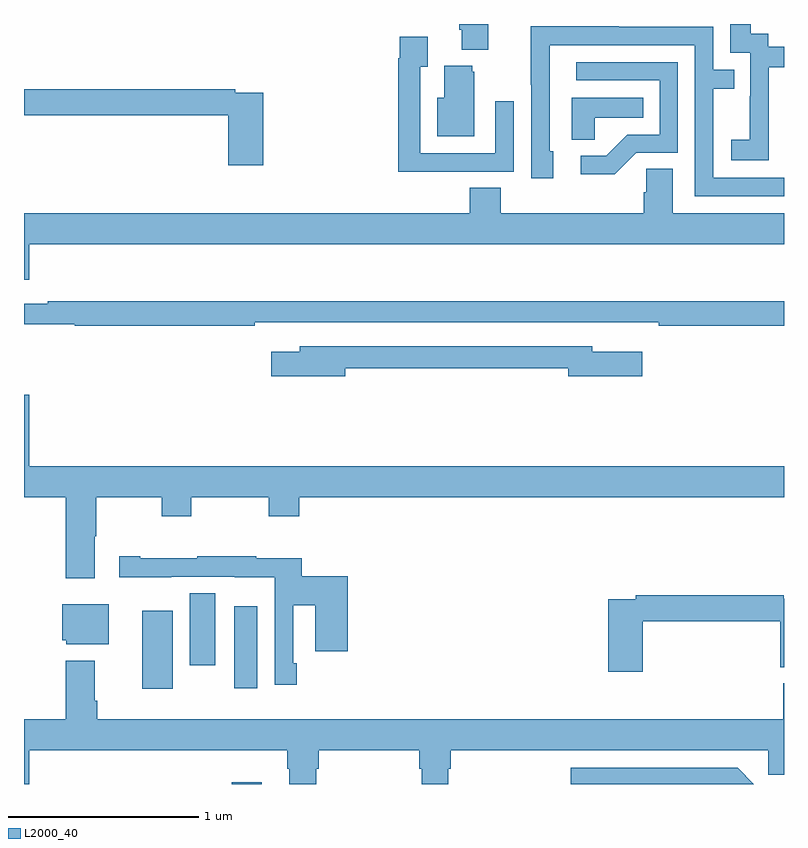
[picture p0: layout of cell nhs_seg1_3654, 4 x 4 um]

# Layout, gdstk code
import gdstk
lib = gdstk.Library(unit=1e-6, precision=1e-09)
def R(c, l, rs):  # rectangles x0, y0, x1, y1
    for r in rs: c.add(gdstk.rectangle(r[:2], r[2:], *l))
def P(c, l, *ps):  # polygons
    for p in ps: c.add(gdstk.Polygon(p, *l))
L2000_40 = (2000, 40)

nhs_seg1_3654 = lib.new_cell('nhs_seg1_3654')
R(nhs_seg1_3654, L2000_40, [(310.094,574.199,310.252,574.207), (309.623,574.701,309.784,575.11), (310.106,574.704,310.228,575.134), (309.872,574.824,310.006,575.204)])
P(nhs_seg1_3654, L2000_40, [(312.921,577.687),(312.92,577.687),(312.92,577.971),(313,577.971),(313,578.079),(312.918,578.079),(312.918,578.148),(312.826,578.148),(312.826,578.199),(312.717,578.199),(312.717,578.049),(312.822,578.049),(312.822,577.82),(312.821,577.82),(312.821,577.591),(312.723,577.591),(312.723,577.481),(312.921,577.481)],
  [(311.443,578.199),(311.291,578.199),(311.291,578.17),(311.303,578.17),(311.303,578.063),(311.443,578.063)],
  [(313,577.389),(312.627,577.389),(312.627,577.858),(312.737,577.858),(312.737,577.959),(312.627,577.959),(312.627,578.184),(312.131,578.184),(312.131,578.186),(311.668,578.186),(311.668,577.879),(311.67,577.879),(311.67,577.386),(311.785,577.386),(311.785,577.53),(311.766,577.53),(311.766,578.088),(312.531,578.088),(312.531,577.293),(313,577.293)],
  [(311.261,577.422),(311.577,577.422),(311.577,577.792),(311.481,577.792),(311.481,577.518),(311.085,577.518),(311.085,577.975),(311.125,577.975),(311.125,578.131),(310.977,578.131),(310.977,578.018),(310.969,578.018),(310.969,577.421),(311.261,577.421)],
  [(312.222,577.521),(312.441,577.521),(312.441,577.998),(311.907,577.998),(311.907,577.902),(312.345,577.902),(312.345,577.617),(312.176,577.617),(312.065,577.506),(311.931,577.506),(311.931,577.409),(312.109,577.409)],
  [(311.371,577.947),(311.36,577.947),(311.36,577.978),(311.213,577.978),(311.213,577.81),(311.174,577.81),(311.174,577.607),(311.371,577.607)],
  [(310.259,577.836),(310.112,577.836),(310.112,577.856),(309,577.856),(309,577.72),(310.076,577.72),(310.076,577.455),(310.259,577.455)],
  [(312.003,577.706),(312.26,577.706),(312.26,577.81),(311.882,577.81),(311.882,577.591),(312.003,577.591)],
  [(309.028,577.04),(313,577.04),(313,577.204),(312.415,577.204),(312.415,577.436),(312.276,577.436),(312.276,577.313),(312.263,577.313),(312.263,577.204),(311.51,577.204),(311.51,577.337),(311.345,577.337),(311.345,577.204),(309,577.204),(309,576.852),(309.028,576.852)],
  [(310.214,576.63),(312.088,576.63),(312.088,576.629),(312.34,576.629),(312.34,576.61),(313,576.61),(313,576.739),(309.124,576.739),(309.124,576.726),(309,576.726),(309,576.618),(309.266,576.618),(309.266,576.61),(310.214,576.61)],
  [(310.69,576.388),(311.864,576.388),(311.864,576.346),(312.253,576.346),(312.253,576.475),(311.992,576.475),(311.992,576.504),(310.451,576.504),(310.451,576.475),(310.302,576.475),(310.302,576.346),(310.69,576.346)],
  [(309.028,576.247),(309,576.247),(309,575.708),(309.221,575.708),(309.221,575.283),(309.373,575.283),(309.373,575.504),(309.381,575.504),(309.381,575.708),(309.724,575.708),(309.724,575.609),(309.879,575.609),(309.879,575.708),(310.288,575.708),(310.288,575.609),(310.448,575.609),(310.448,575.708),(313,575.708),(313,575.872),(309.028,575.872)],
  [(310.436,574.834),(310.416,574.834),(310.416,575.141),(310.532,575.141),(310.532,574.899),(310.703,574.899),(310.703,575.293),(310.463,575.293),(310.463,575.388),(310.223,575.388),(310.223,575.398),(309.913,575.398),(309.913,575.388),(309.613,575.388),(309.613,575.398),(309.501,575.398),(309.501,575.288),(309.776,575.288),(309.776,575.289),(310.11,575.289),(310.11,575.288),(310.32,575.288),(310.32,574.722),(310.436,574.722)],
  [(312.257,575.056),(312.98,575.056),(312.98,574.814),(313,574.814),(313,575.174),(312.998,575.174),(312.998,575.192),(312.22,575.192),(312.22,575.172),(312.074,575.172),(312.074,574.791),(312.257,574.791)],
  [(309.445,575.146),(309.2,575.146),(309.2,574.956),(309.222,574.956),(309.222,574.934),(309.445,574.934)],
  [(309.028,574.376),(310.385,574.376),(310.385,574.28),(310.397,574.28),(310.397,574.199),(310.537,574.199),(310.537,574.28),(310.55,574.28),(310.55,574.376),(311.081,574.376),(311.081,574.28),(311.093,574.28),(311.093,574.199),(311.233,574.199),(311.233,574.28),(311.246,574.28),(311.246,574.376),(312.918,574.376),(312.918,574.249),(313,574.249),(313,574.729),(312.995,574.729),(312.995,574.54),(309.386,574.54),(309.386,574.636),(309.373,574.636),(309.373,574.849),(309.221,574.849),(309.221,574.54),(309,574.54),(309,574.199),(309.028,574.199)],
  [(312.756,574.284),(311.877,574.284),(311.877,574.199),(312.841,574.199)])

lib.write_gds('nhs_seg1_3654.gds')
